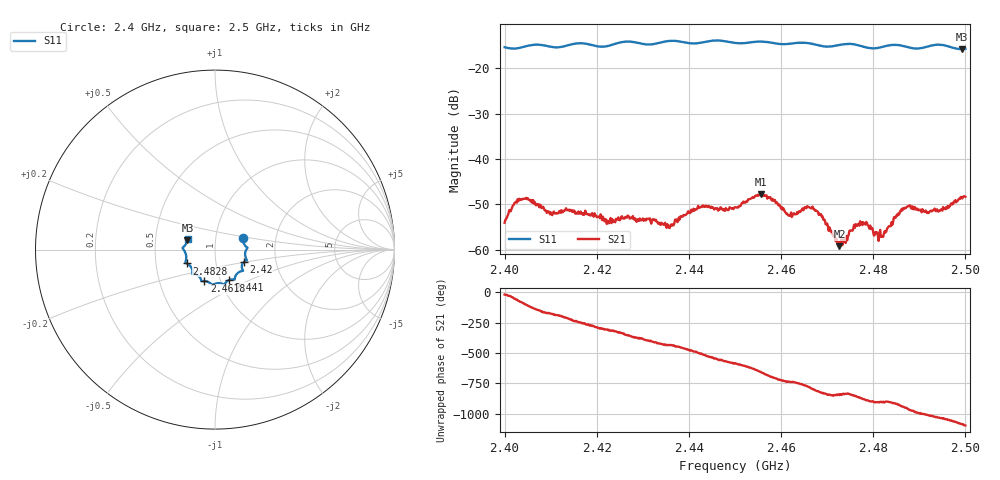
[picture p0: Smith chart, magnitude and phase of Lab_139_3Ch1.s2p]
# Hz S RI R 50
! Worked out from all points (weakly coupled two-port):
!   601 points, 2.4 GHz to 2.5 GHz, reference 50 ohm
!   highest |S21| = -47.78 dB at 2.4557 GHz (marker M1); lowest = -59.2 dB at 2.4727 GHz (marker M2)
!   lowest |S11| = -15.8 dB at 2.4993 GHz (marker M3), VSWR 1.39, Z = 36.5 + j3.87 ohm
!   |S11| at or under -10 dB: start of sweep to end of sweep
!   S12 and S22 are empty: the file has one direction only
!   S11 on the Smith chart (normalised r, x): 2.4 GHz: 1.36, +0.18; 2.42 GHz: 1.36, -0.20; 2.441 GHz: 1.10, -0.39; 2.4618 GHz: 0.84, -0.30; 2.4828 GHz: 0.72, -0.11; 2.5 GHz: 0.73, +0.09
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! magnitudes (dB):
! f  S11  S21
! 2.4 GHz  -15.4  -54.0
! 2.4023 GHz  -15.7  -49.5
! 2.4045 GHz  -15.2  -48.7
! 2.41 GHz  -15.3  -51.7
! 2.4167 GHz  -14.5  -52.0
! 2.42 GHz  -15.2  -52.8
! 2.4333 GHz  -14.5  -54.2
! 2.4362 GHz  -14.0  -54.4
! 2.441 GHz  -14.6  -51.0
! 2.45 GHz  -14.5  -50.6
! 2.4557 GHz  -14.2  -47.8
! 2.4618 GHz  -14.6  -52.5
! 2.4667 GHz  -14.6  -50.7
! 2.4727 GHz  -14.9  -59.2
! 2.4767 GHz  -14.9  -54.3
! 2.4817 GHz  -15.4  -57.2
! 2.4828 GHz  -15.1  -56.0
! 2.4833 GHz  -15.0  -54.9
! 2.4875 GHz  -15.4  -50.5
! 2.4945 GHz  -14.9  -51.4
! 2.4993 GHz  -15.8  -48.7
! 2.5 GHz  -15.7  -48.3
